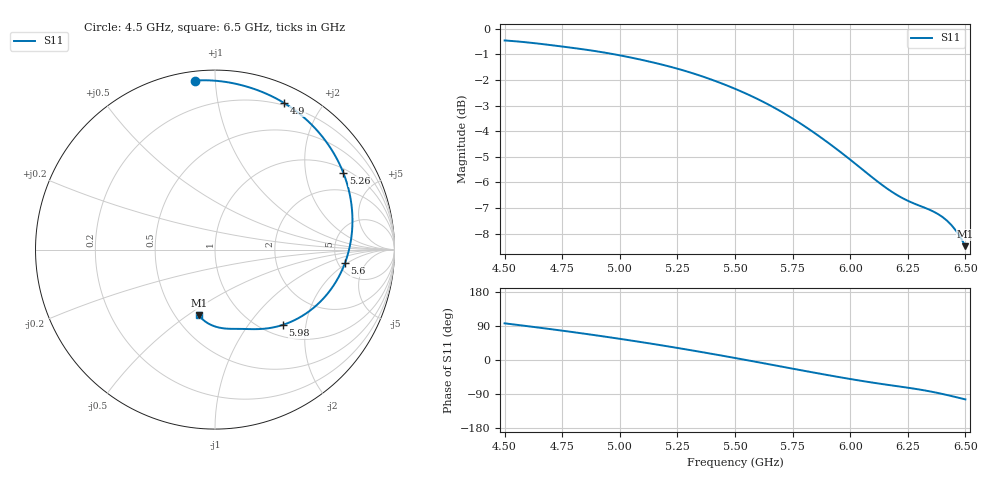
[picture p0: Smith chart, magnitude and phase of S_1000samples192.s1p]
! TOUCHSTONE file generated by CST MICROWAVE STUDIO
! Date and time: Thu Oct 27 08:01:26 2022
! Project name: L.cst
! Parameters = {Di=1.27; Epsilon_r=1.56; InnerDiameter=1.27; Length=2; Lf=10; Lg=60; OuterConductorThickness=0.2921; OuterDiameter=3.6; Wf=3; Wp=41.2; de=1.5; df=6.8; g=0.8; gx=4.54853; gy=4.9591; h=2.34; hf=1.524; px=14.4428; py=13.5235; w=9.7; wx=9.89426; wy=8.56445}
! Header version: 2018
! Port assignment regex: !\s*Touchstone port\s*([0-9]+)\s*=\s*(CST MWS port|CST DS port)\s*([0-9]+|Zmin|Zmax)\s*\(\"(.*)\"\)(\s*mode\s*([0-9]+))?.*
! Touchstone port assignment:
! Touchstone port 1 = CST MWS port 1 ("")
# GHz S DB R 50
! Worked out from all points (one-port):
!   101 points, 4.5 GHz to 6.5 GHz, reference 50 ohm
!   lowest |S11| = -8.5 dB at 6.5 GHz (marker M1), VSWR 2.21, Z = 32.4 - j27.6 ohm
!   |S11| at or under -10 dB: nowhere
!   S11 on the Smith chart (normalised r, x): 4.5 GHz: 0.05, +0.89; 4.9 GHz: 0.18, +1.56; 5.26 GHz: 1.16, +3.24; 5.6 GHz: 5.77, -1.82; 5.98 GHz: 1.21, -1.49; 6.5 GHz: 0.65, -0.55
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4.5  -0.46 96.7
4.62  -0.56 87.7
4.68  -0.62 83.0
4.76  -0.71 76.6
4.84  -0.80 70.0
4.9  -0.88 64.8
5  -1.04 55.9
5.06  -1.15 50.3
5.14  -1.31 42.7
5.2  -1.44 36.8
5.26  -1.59 30.8
5.32  -1.75 24.6
5.38  -1.93 18.3
5.44  -2.13 11.9
5.5  -2.35 5.3
5.6  -2.75 -5.8
5.68  -3.13 -14.9
5.76  -3.56 -24.0
5.86  -4.16 -35.2
5.92  -4.56 -41.7
5.98  -4.97 -48.1
6  -5.11 -50.1
6.12  -5.97 -61.8
6.26  -6.76 -74.0
6.34  -7.05 -82.1
6.4  -7.34 -89.6
6.46  -7.89 -98.1
6.5  -8.49 -103.9
